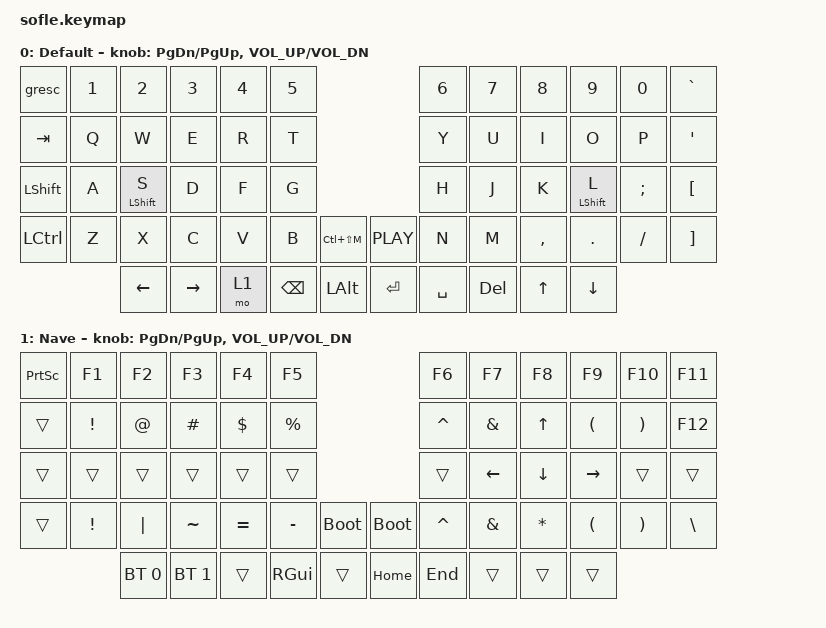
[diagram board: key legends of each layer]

#include <behaviors.dtsi>
#include <dt-bindings/zmk/bt.h>
#include <dt-bindings/zmk/keys.h>

/ {
    behaviors {
        behavior_sensor_rotate_mouse: behavior_sensor_rotate_mouse {
            compatible = "zmk,behavior-sensor-rotate-var";
            label = "BEHAVIOR_SENSOR_ROTATE_MOUSE";
            #sensor-binding-cells = <2>;
            bindings = <&msc>, <&msc>;

            tap-ms = <20>;
        };

        rot_kp: sensor_rotate_kp {
            compatible = "zmk,behavior-sensor-rotate-var";
            #sensor-binding-cells = <2>;
            bindings = <&kp>, <&kp>;
        };

        hrl: ZMK_HOLD_TAP_Left {
            compatible = "zmk,behavior-hold-tap";
            #binding-cells = <2>;
            tapping-term-ms = <280>;
            quick-tap-ms = <175>;
            require-prior-idle-ms = <150>;
            flavor = "balanced";
            bindings = <&kp>, <&kp>;

            hold-trigger-key-positions = <0 1 2 3 4 5 6 7 8 9 10 11 12 13 14 15 16 17 18 19 20 21 22 23 24 25 26 27 28 29>;
        };

        hrr: ZMK_HOLD_TAP_Right {
            compatible = "zmk,behavior-hold-tap";
            #binding-cells = <2>;
            tapping-term-ms = <280>;
            quick-tap-ms = <175>;
            require-prior-idle-ms = <150>;
            flavor = "balanced";
            bindings = <&kp>, <&kp>;

            hold-trigger-key-positions = <30 31 32 33 34 35 36 37 38 39 40 41 42 43 44 45 46 47 48 49 50 51 52 53 54 55 56 57 58 59>;
        };
    };

    combos {
        compatible = "zmk,combos";

        ToggleLow {
            bindings = <&tog 1>;
            key-positions = <52 57>;
        };

        UnlockStudio {
            bindings = <&studio_unlock>;
            key-positions = <43 42>;
        };
    };

    keymap {
        compatible = "zmk,keymap";

        default_layer {
            display-name = "Default";

            // ------------------------------------------------------------------------------------------------------------------
            // |  ESC  |  1  |  2  |  3   |  4   |  5   |                         |  6   |  7    |  8    |  9   |   0   | GRAVE |
            // |  TAB  |  Q  |  W  |  E   |  R   |  T   |                         |  Y   |  U    |  I    |  O   |   P   |   '   |
            // | SHIFT |  A  |  S  |  D   |  F   |  G   |                         |  H   |  J    |  K    |  L   |   ;   |   [   |
            // | CTRL  |  Z  |  X  |  C   |  V   |  B   | MUTE TM|        | C_PLAY|  N   |  M    |  ,    |  .   |   /   |   ]   |
            //               | LEFT|RIGHT | LOWER| BSCP |  L ALT |        | ENTER | SPACE|  DEL  |  UP   | DOWN |

            bindings = <
&gresc     &kp N1  &kp N2        &kp N3     &kp N4  &kp N5                                 &kp N6     &kp N7   &kp N8     &kp N9        &kp N0    &kp GRAVE
&kp TAB    &kp Q   &kp W         &kp E      &kp R   &kp T                                  &kp Y      &kp U    &kp I      &kp O         &kp P     &kp SQT
&kp LSHFT  &kp A   &hrr LSHFT S  &kp D      &kp F   &kp G                                  &kp H      &kp J    &kp K      &hrl LSHFT L  &kp SEMI  &kp LBKT
&kp LCTRL  &kp Z   &kp X         &kp C      &kp V   &kp B     &kp LC(LS(M))    &kp C_PLAY  &kp N      &kp M    &kp COMMA  &kp DOT       &kp FSLH  &kp RBKT
                   &kp LEFT      &kp RIGHT  &mo 1   &kp BSPC  &kp LEFT_ALT     &kp ENTER   &kp SPACE  &kp DEL  &kp UP     &kp DOWN
            >;

            sensor-bindings =
                <&inc_dec_kp PG_DN PAGE_UP>,
                <&inc_dec_kp C_VOL_UP C_VOL_DN>;
        };

        lower_layer {
            display-name = "Nave";

            // ------------------------------------------------------------------------------------------------------------
            // | Print |  F1 |  F2  |  F3  |  F4  |  F5  |                   |  F6  |  F7   |  F8   |  F9  |  F10  |  F11  |
            // |       |  !  |  @   |  #   |  $   |  %   |                   |  ^   |  &    |  *    |  (   |   )   |  F12  |
            // |       |MLEFT|MDOWN | MVUP |MRIGHT|      |                   | PGDN |  LEFT |  DOWN |RIGHT |   )   |   |   |
            // |       |     | PIPE |  ~   |  =   |  -   |UnlozmkS|  |       |  RGB |  ]    |  ;    |  :   |   \   |       |
            //               |BLT 0 |BLT 1 |      |      |        |  |       |      |       |       |      |

            bindings = <
&kp PSCRN  &kp F1          &kp F2          &kp F3        &kp F4           &kp F5                                 &kp F6     &kp F7    &kp F8    &kp F9        &kp F10   &kp F11
&trans     &kp EXCL        &kp AT          &kp HASH      &kp DLLR         &kp PRCNT                              &kp CARET  &kp AMPS  &kp UP    &kp LPAR      &kp RPAR  &kp F12
&trans     &trans          &trans          &trans        &trans           &trans                                 &trans     &kp LEFT  &kp DOWN  &kp RIGHT     &trans    &trans
&trans     &kp EXCL        &kp PIPE        &kp TILDE     &kp EQUAL        &kp MINUS  &bootloader    &bootloader  &kp CARET  &kp AMPS  &kp STAR  &kp LPAR      &kp RPAR  &kp BACKSLASH
                           &bt BT_SEL 0    &bt BT_SEL 1  &trans           &kp RGUI   &trans         &kp HOME     &kp END    &trans    &trans    &trans
            >;

            sensor-bindings =
                <&inc_dec_kp PG_DN PAGE_UP>,
                <&inc_dec_kp C_VOL_UP C_VOL_DN>;
        };
    };
};
